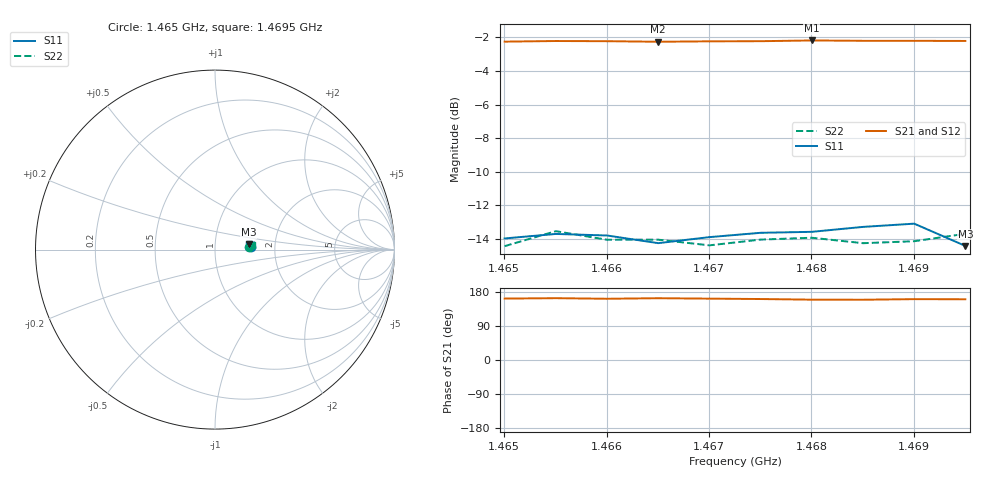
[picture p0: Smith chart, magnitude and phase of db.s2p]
#  HZ  S  DB  R  50.0
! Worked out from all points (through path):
!   10 points, 1.465 GHz to 1.4695 GHz, reference 50 ohm
!   highest |S21| = -2.19 dB at 1.468 GHz (marker M1); lowest = -2.3 dB at 1.4665 GHz (marker M2)
!   lowest |S11| = -14.4 dB at 1.4695 GHz (marker M3), VSWR 1.47, Z = 73 + j4.53 ohm
!   |S11| at or under -10 dB: start of sweep to end of sweep
!   |S22| runs from -14.4 to -13.5 dB; largest |S21 - S12| = 0.026
1.465004e9  -13.97 3.3  -2.26 162.1  -2.26 162.7  -14.43 4.5
1.465504e9  -13.70 3.5  -2.22 163.1  -2.23 161.2  -13.53 2.0
1.466004e9  -13.79 6.8  -2.23 161.6  -2.24 162.9  -14.04 2.5
1.466504e9  -14.25 4.7  -2.27 163.0  -2.28 163.8  -14.04 6.3
1.467004e9  -13.89 3.7  -2.24 161.9  -2.26 162.0  -14.38 4.4
1.467504e9  -13.63 4.5  -2.23 160.9  -2.23 162.1  -14.04 6.0
1.468005e9  -13.57 6.8  -2.19 159.2  -2.21 160.5  -13.92 5.8
1.468505e9  -13.28 4.3  -2.21 159.1  -2.21 157.5  -14.25 3.0
1.469005e9  -13.09 10.4  -2.21 160.6  -2.24 159.6  -14.13 7.3
1.469505e9  -14.41 9.0  -2.22 160.3  -2.26 160.3  -13.69 7.2
